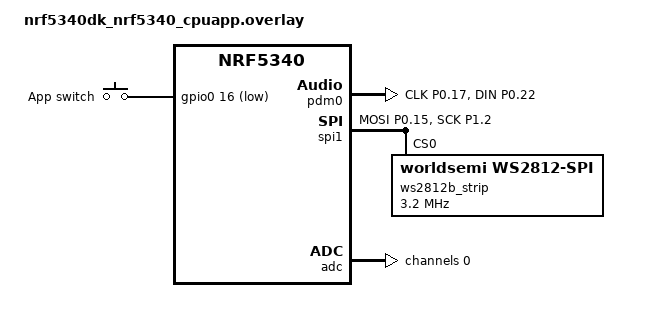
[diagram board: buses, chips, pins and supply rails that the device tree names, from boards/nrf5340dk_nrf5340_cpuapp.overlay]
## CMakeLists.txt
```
# SPDX-License-Identifier: Apache-2.0

cmake_minimum_required(VERSION 3.20.0)
find_package(Zephyr REQUIRED HINTS $ENV{ZEPHYR_BASE})
project(bap_unicast_client_4)

target_sources(app PRIVATE
  src/main_3.c
  src/app_state.c
  src/stream_pdm.c
)

zephyr_sources_ifdef(CONFIG_LIBLC3 src/stream_lc3.c)
zephyr_sources_ifdef(CONFIG_BT_AUDIO_TX src/stream_tx.c)

zephyr_library_include_directories(app PRIVATE src)
```

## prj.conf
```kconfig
CONFIG_BT=y
CONFIG_LOG=y
CONFIG_USE_SEGGER_RTT=y
CONFIG_RTT_CONSOLE=y
CONFIG_UART_CONSOLE=n
CONFIG_LOG_BACKEND_SHOW_COLOR=n
CONFIG_BT_SMP=y
CONFIG_BT_CENTRAL=y
CONFIG_BT_ISO_CENTRAL=y
CONFIG_BT_GATT_CLIENT=y
CONFIG_BT_GATT_AUTO_DISCOVER_CCC=y
CONFIG_BT_GATT_AUTO_UPDATE_MTU=y
CONFIG_UTF8=y
CONFIG_BT_AUDIO=y
CONFIG_BT_BAP_UNICAST_CLIENT=y
CONFIG_BT_ISO_TX_BUF_COUNT=4
CONFIG_BT_ISO_MAX_CHAN=4
CONFIG_BT_BAP_UNICAST_CLIENT_GROUP_STREAM_COUNT=4
CONFIG_BT_BAP_UNICAST_CLIENT_ASE_SNK_COUNT=4
CONFIG_BT_BAP_UNICAST_CLIENT_ASE_SRC_COUNT=2
CONFIG_BT_KEYS_OVERWRITE_OLDEST=y
CONFIG_BT_EXT_ADV=y

CONFIG_BT_BUF_ACL_TX_SIZE=128
CONFIG_BT_BUF_ACL_RX_SIZE=128

CONFIG_GPIO=y

CONFIG_AUDIO=y
CONFIG_AUDIO_DMIC=y
CONFIG_NRFX_PDM=y

CONFIG_CLOCK_CONTROL_NRF_K32SRC_XTAL=y
CONFIG_CLOCK_CONTROL_NRF_K32SRC_20PPM=y


CONFIG_LED_STRIP=y
CONFIG_LED_STRIP_LOG_LEVEL_DBG=y
CONFIG_SPI=y
CONFIG_WS2812_STRIP_SPI=y

CONFIG_RING_BUFFER=y
 

CONFIG_SPEED_OPTIMIZATIONS=y
 
```

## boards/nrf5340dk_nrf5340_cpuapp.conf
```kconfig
# For LC3 the following configs are needed
CONFIG_FPU=y
CONFIG_LIBLC3=y
# The LC3 codec uses a large amount of stack. This app runs the codec in the work-queue, hence
# inctease stack size for that thread.
CONFIG_SYSTEM_WORKQUEUE_STACK_SIZE=8192

CONFIG_BT_BUF_EVT_RX_SIZE=255
CONFIG_BT_BUF_ACL_RX_SIZE=128
CONFIG_BT_BUF_ACL_TX_SIZE=128
CONFIG_BT_BUF_CMD_TX_SIZE=255
```

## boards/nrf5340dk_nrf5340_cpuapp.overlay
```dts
/ {
    aliases {
        mic-pdm    = &pdm0;
        led-strip  = &ws2812b_strip;
        analog0    = &adc_chan0;
        switch0    = &app_switch;  
    };

   
    app_switch: gpio_keys {
        compatible = "gpio-keys";
        button_0: button_0 {
            gpios = <&gpio0 16 (GPIO_PULL_UP | GPIO_ACTIVE_LOW)>;
            label = "App switch";
        };
    }; 
};

&clock {
    hfclkaudio-frequency = <12288000>;
};



&pdm0 {
    status = "okay";
    pinctrl-0 = <&pdm0_default>;
    pinctrl-names = "default";
    clock-source = "ACLK";
};


&spi1 {
    status = "okay";
    pinctrl-0 = <&spi1_default>;
    pinctrl-names = "default";

    ws2812b_strip: ws2812b@0 {
        compatible = "worldsemi,ws2812-spi";
        reg = <0>;
        spi-max-frequency = <3200000>; 
        chain-length = <5>;
        color-mapping = <1 0 2>;
        spi-one-frame  = <0x70>;   
        spi-zero-frame = <0x40>;   
        reset-delay    = <2000>;
    };
};


&adc {
    status = "okay";
    #address-cells = <1>;
    #size-cells = <0>;

    adc_chan0: channel@0 {
        reg = <0>;
        zephyr,gain             = "ADC_GAIN_1_6";
        zephyr,reference        = "ADC_REF_INTERNAL";
        zephyr,acquisition-time = <ADC_ACQ_TIME_DEFAULT>;
        zephyr,input-positive   = <2>;   /* AIN2 = P0.04 */
        zephyr,resolution       = <12>;
    };
};

/* ── Pin control ───────────────────────────────────────────────────────── */
&pinctrl {
    pdm0_default: pdm0_default {
        group1 {
            psels = <NRF_PSEL(PDM_CLK, 0, 17)>,
                    <NRF_PSEL(PDM_DIN, 0, 22)>;
        };
    };

    spi1_default: spi1_default {
        group1 {
            psels = <NRF_PSEL(SPIM_MOSI, 0, 15)>,
                    <NRF_PSEL(SPIM_SCK,  1,  2)>;
        };
    };
};
```

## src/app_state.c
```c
 
#include "app_state.h"
 
#include <stdbool.h>
#include <stdint.h>
#include <string.h>
 
#include <zephyr/device.h>
#include <zephyr/devicetree.h>
#include <zephyr/drivers/gpio.h>
#include <zephyr/drivers/led_strip.h>
#include <zephyr/kernel.h>
#include <zephyr/logging/log.h>
 
LOG_MODULE_REGISTER(app_state, LOG_LEVEL_INF);
 
 
#define LONG_PRESS_MS       2000U  
#define BLINK_PERIOD_MS      250U   
#define DISPLAY_MS          2000U   
 
/* Switch: P0.16, active low (GND when pressed, pull-up to VCC) */
static const struct gpio_dt_spec sw = GPIO_DT_SPEC_GET(DT_NODELABEL(button_0), gpios);
 
/* WS2812B strip on P0.15 via "led-strip" alias in app.overlay */
static const struct device *led_strip_dev = DEVICE_DT_GET_OR_NULL(DT_ALIAS(led_strip));
 
#define STRIP_NUM_LEDS      5U   
 
static struct led_rgb strip_buf[STRIP_NUM_LEDS];
 
typedef enum {
    STATE_LOW_POWER,
    STATE_SCANNING,
    STATE_STREAMING,
} app_state_t;
 
static volatile app_state_t current_state = STATE_LOW_POWER;
static volatile bool         disconnect_requested;
 
static K_SEM_DEFINE(sem_long_press, 0, 1);
 
static volatile int64_t press_start_ms;
static volatile bool    press_active;
 

static struct gpio_callback sw_cb_data;
 

static struct k_timer blink_timer;
static volatile bool  blink_on;
static volatile bool  blink_running;
 

static const struct led_rgb COLOR_OFF   = {.r = 0,   .g = 0,   .b = 0};
static const struct led_rgb COLOR_BLUE  = {.r = 0,   .g = 0,   .b = 128};
static const struct led_rgb COLOR_GREEN = {.r = 0,   .g = 128, .b = 0};
static const struct led_rgb COLOR_RED   = {.r = 128, .g = 0,   .b = 0};
 

static void led_set(const struct led_rgb *color)
{
    for (size_t i = 0; i < STRIP_NUM_LEDS; i++) {
        strip_buf[i] = *color;
    }
    led_strip_update_rgb(led_strip_dev, strip_buf, STRIP_NUM_LEDS);
}
 
static void led_off(void)
{
    led_set(&COLOR_OFF);
}
 

static void blink_timer_cb(struct k_timer *t)
{
    ARG_UNUSED(t);
 
    if (!blink_running) {
        return;
    }
 
    blink_on = !blink_on;
    led_set(blink_on ? &COLOR_BLUE : &COLOR_OFF);
}
 
static void blink_start(void)
{
    blink_on      = true;
    blink_running = true;
    led_set(&COLOR_BLUE);
    k_timer_start(&blink_timer,
                  K_MSEC(BLINK_PERIOD_MS),
                  K_MSEC(BLINK_PERIOD_MS));
}
 
static void blink_stop(void)
{
    blink_running = false;
    k_timer_stop(&blink_timer);
    led_off();
}
 

static void sw_isr(const struct device *dev, struct gpio_callback *cb,
                   uint32_t pins)
{
    ARG_UNUSED(dev);
    ARG_UNUSED(cb);
    ARG_UNUSED(pins);
 
   
    int raw = gpio_pin_get_raw(sw.port, sw.pin);
 
    if (raw == 0) {
        press_start_ms = k_uptime_get();
        press_active   = true;
    } else {
        if (!press_active) {
            return;
        }
        press_active = false;
 
        int64_t held_ms = k_uptime_get() - press_start_ms;
 
        if (held_ms >= LONG_PRESS_MS) {
            if (current_state == STATE_LOW_POWER) {
                k_sem_give(&sem_long_press);
            } else if (current_state == STATE_STREAMING) {
                disconnect_requested = true;
                LOG_INF("Long press while streaming — requesting disconnect");
            }
            
        }
    }
}
 
/*PUBLIC FUNCTIONS*/
int app_state_init(void)
{
    int err;

    led_strip_dev = DEVICE_DT_GET(DT_ALIAS(led_strip));
    if (!device_is_ready(led_strip_dev)) {
        LOG_ERR("LED strip device not ready");
        return -ENODEV;
    }
    led_off();
 
    if (!gpio_is_ready_dt(&sw)) {
        LOG_ERR("Switch GPIO not ready");
        return -ENODEV;
    }
 
    err = gpio_pin_configure_dt(&sw, GPIO_INPUT | GPIO_PULL_UP);
    if (err != 0) {
        LOG_ERR("Failed to configure switch pin: %d", err);
        return err;
    }
 
    err = gpio_pin_interrupt_configure_dt(&sw, GPIO_INT_EDGE_BOTH);
    if (err != 0) {
        LOG_ERR("Failed to configure switch interrupt: %d", err);
        return err;
    }
 
    gpio_init_callback(&sw_cb_data, sw_isr, BIT(sw.pin));
    gpio_add_callback(sw.port, &sw_cb_data);

    k_timer_init(&blink_timer, blink_timer_cb, NULL);
 
    current_state        = STATE_LOW_POWER;
    disconnect_requested = false;
 
    LOG_INF("App state machine initialised (switch P0.16, LED P0.15)");
    return 0;
}
 
void app_state_wait_for_start(void)
{

    k_sem_reset(&sem_long_press);
    disconnect_requested = false;
    current_state        = STATE_LOW_POWER;
 
    led_off();
 
    LOG_INF("Entering low-power — waiting for 2-second press");

    k_sem_take(&sem_long_press, K_FOREVER);
 
    current_state = STATE_SCANNING;
    blink_start();
 
    LOG_INF("Long press detected — starting BT scan, blue blink running");
}
 
void app_state_notify_connected(void)
{
    blink_stop();
    current_state = STATE_STREAMING;
 
    led_set(&COLOR_GREEN);
    k_sleep(K_MSEC(DISPLAY_MS));
    led_off();
 
    LOG_INF("Connected — green display done, LED off, streaming");
}
 
void app_state_notify_scan_timeout(void)
{
    blink_stop();
    current_state = STATE_LOW_POWER;
 
    led_set(&COLOR_RED);
    k_sleep(K_MSEC(DISPLAY_MS));
    led_off();
 
    LOG_INF("Scan timeout — red display done, returning to low power");
}
 
bool app_state_disconnect_requested(void)
{
    return disconnect_requested;
}
```

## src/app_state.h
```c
#ifndef APP_STATE_H_
#define APP_STATE_H_
 
#include <stdbool.h>
 

int app_state_init(void);
 

void app_state_wait_for_start(void);

void app_state_notify_connected(void);
 

void app_state_notify_scan_timeout(void);
 

bool app_state_disconnect_requested(void);
 
#endif 
```

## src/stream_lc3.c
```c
#include <errno.h>
#include <stdbool.h>
#include <stdint.h>
#include <string.h>
 
#include <zephyr/bluetooth/audio/audio.h>
#include <zephyr/kernel.h>
#include <zephyr/logging/log.h>
#include <zephyr/net_buf.h>
#include <lc3.h>
 
#include "stream_lc3.h"
#include "stream_mic.h"
#include "stream_tx.h"
 
LOG_MODULE_REGISTER(lc3, LOG_LEVEL_INF);
 
#define LC3_MAX_SAMPLE_RATE       48000U
#define LC3_MAX_FRAME_DURATION_US 10000U
#define LC3_MAX_NUM_SAMPLES \
    ((LC3_MAX_FRAME_DURATION_US * LC3_MAX_SAMPLE_RATE) / USEC_PER_SEC)


static uint32_t frame_count = 0;

#define RESET_INTERVAL_FRAMES 10000
 

static int16_t audio_buf[LC3_MAX_NUM_SAMPLES * 2U];
 

static void fill_audio_buf_i2s(struct tx_stream *stream)
{
    const unsigned int num_samples =
        (stream->lc3_tx.frame_duration_us * stream->lc3_tx.freq_hz) / USEC_PER_SEC;
    const uint8_t chan_cnt = stream->lc3_tx.chan_cnt;
 
    if (chan_cnt >= 2U) {

        int err = stream_i2s_read(audio_buf, num_samples * 2U);
 
        if (err != 0) {
            
            LOG_ERR("stream_i2s_read failed: %d — using silence", err);
            memset(audio_buf, 0, num_samples * 2U * sizeof(int16_t));
        }
    } else {
        
        int16_t stereo_buf[LC3_MAX_NUM_SAMPLES * 2U];
        int err = stream_i2s_read(stereo_buf, num_samples * 2U);
 
        if (err == 0) {
            for (unsigned int i = 0; i < num_samples; i++) {
                int32_t mixed = (int32_t)stereo_buf[i * 2U] +
                                (int32_t)stereo_buf[i * 2U + 1U];
                audio_buf[i] = (int16_t)(mixed >> 1);
            }
        } else {
            LOG_ERR("stream_i2s_read failed: %d — using silence", err);
            memset(audio_buf, 0, num_samples * sizeof(int16_t));
        }
    }
}
 
static int extract_lc3_config(struct tx_stream *stream)
{
    const struct bt_audio_codec_cfg *codec_cfg = stream->bap_stream->codec_cfg;
    struct stream_lc3_tx *lc3_tx = &stream->lc3_tx;
    int ret;
 
    LOG_INF("Extracting LC3 configuration values");
 
    ret = bt_audio_codec_cfg_get_freq(codec_cfg);
    if (ret >= 0) {
        ret = bt_audio_codec_cfg_freq_to_freq_hz(ret);
        if (ret > 0 && LC3_CHECK_SR_HZ(ret)) {
            lc3_tx->freq_hz = (uint32_t)ret;
        } else {
            LOG_ERR("Invalid frequency: %d", ret);
            return -EINVAL;
        }
    } else {
        LOG_ERR("Could not get frequency: %d", ret);
        return ret;
    }
 
    ret = bt_audio_codec_cfg_get_frame_dur(codec_cfg);
    if (ret >= 0) {
        ret = bt_audio_codec_cfg_frame_dur_to_frame_dur_us(ret);
        if (ret > 0 && LC3_CHECK_DT_US(ret)) {
            lc3_tx->frame_duration_us = (uint32_t)ret;
        } else {
            LOG_ERR("Invalid frame duration: %d", ret);
            return -EINVAL;
        }
    } else {
        LOG_ERR("Could not get frame duration: %d", ret);
        return ret;
    }
 
    ret = bt_audio_codec_cfg_get_chan_allocation(codec_cfg,
                                                  &lc3_tx->chan_allocation,
                                                  false);
    if (ret != 0) {
        lc3_tx->chan_allocation = BT_AUDIO_LOCATION_MONO_AUDIO;
    }
    lc3_tx->chan_cnt = bt_audio_get_chan_count(lc3_tx->chan_allocation);
 
    ret = bt_audio_codec_cfg_get_frame_blocks_per_sdu(codec_cfg, true);
    if (ret >= 0) {
        lc3_tx->frame_blocks_per_sdu = (uint8_t)ret;
    }
 
    ret = bt_audio_codec_cfg_get_octets_per_frame(codec_cfg);
    if (ret >= 0) {
        lc3_tx->octets_per_frame = (uint16_t)ret;
    } else {
        LOG_ERR("Could not get octets per frame: %d", ret);
        return ret;
    }
 
    return 0;
}
 
static bool encode_frame(struct tx_stream *stream, uint8_t index,
                          struct net_buf *out_buf)
{
    const uint16_t octets_per_frame = stream->lc3_tx.octets_per_frame;
    const uint8_t  chan_cnt         = stream->lc3_tx.chan_cnt;
    const int      stride           = (chan_cnt >= 2U) ? 2 : 1;
 
    int lc3_ret = lc3_encode(stream->lc3_tx.encoder,
                              LC3_PCM_FORMAT_S16,
                              audio_buf + index,
                              stride,
                              octets_per_frame,
                              net_buf_tail(out_buf));
    if (lc3_ret < 0) {
        LOG_ERR("LC3 encoder failed: %d", lc3_ret);
        return false;
    }
 
    net_buf_add(out_buf, octets_per_frame);
    return true;
}
 
static bool encode_frame_block(struct tx_stream *stream, struct net_buf *out_buf)
{
    fill_audio_buf_i2s(stream);
 
    for (uint8_t i = 0U; i < stream->lc3_tx.chan_cnt; i++) {
        if (!encode_frame(stream, i, out_buf)) {
            LOG_WRN("Failed to encode frame %u", i);
            return false;
        }
    }
 
    return true;
}
 
void stream_lc3_add_data(struct tx_stream *stream, struct net_buf *buf)
{
    for (uint8_t i = 0U; i < stream->lc3_tx.frame_blocks_per_sdu; i++) {
        if (!encode_frame_block(stream, buf)) {
            LOG_WRN("Failed to encode frame block %u", i);
            break;
        }
    }
}
 
int stream_lc3_init(struct tx_stream *stream)
{
    int err = extract_lc3_config(stream);
    if (err != 0) {
        memset(&stream->lc3_tx, 0, sizeof(stream->lc3_tx));
        return err;
    }
 
    err = stream_i2s_start(stream->lc3_tx.freq_hz);
    if (err != 0) {
        LOG_ERR("stream_i2s_start failed: %d", err);
        memset(&stream->lc3_tx, 0, sizeof(stream->lc3_tx));
        return err;
    }
 
    LOG_INF("Setting up LC3 encoder");
    stream->lc3_tx.encoder =
        lc3_setup_encoder(stream->lc3_tx.frame_duration_us,
                          stream->lc3_tx.freq_hz,
                          0,
                          &stream->lc3_tx.encoder_mem);
 
    if (stream->lc3_tx.encoder == NULL) {
        LOG_ERR("Failed to setup LC3 encoder");
        return -ENOEXEC;
    }
 
    return 0;
}
 
```

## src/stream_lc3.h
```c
#ifndef STREAM_LC3_H
#define STREAM_LC3_H

#include <stdint.h>

#include <zephyr/bluetooth/audio/audio.h>
#include <zephyr/net_buf.h>
#include <zephyr/sys_clock.h>

#if defined(CONFIG_LIBLC3)

#include <lc3.h>

struct stream_lc3_tx {
	uint32_t freq_hz;
	uint32_t frame_duration_us;
	uint16_t octets_per_frame;
	uint8_t frame_blocks_per_sdu;
	uint8_t chan_cnt;
	enum bt_audio_location chan_allocation;
	lc3_encoder_t encoder;
	lc3_encoder_mem_48k_t encoder_mem;
};
#endif 

struct tx_stream;


int stream_lc3_init(struct tx_stream *stream);


void stream_lc3_add_data(struct tx_stream *stream, struct net_buf *buf);

#endif 
```

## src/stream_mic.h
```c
#ifndef STREAM_I2S_H_ // Reworked from I2S code iteration
#define STREAM_I2S_H_

#include <stdint.h>
#include <stddef.h>



int stream_i2s_init(void);


int stream_i2s_start(uint32_t sample_rate_hz);


int stream_i2s_read(int16_t *buf, size_t num_samples);

uint32_t stream_i2s_buf_occupancy(void);

void reset_pdm_stream(void);

void partial_reset_pdm_stream(void);

void stream_i2s_reset(void);


#endif 
```

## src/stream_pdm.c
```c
// Reworked from I2S code iteration
#include "stream_mic.h"
 
#include <errno.h>
#include <stddef.h>
#include <stdint.h>
#include <string.h>
 
#include <zephyr/device.h>
#include <zephyr/audio/dmic.h>
#include <zephyr/kernel.h>
#include <zephyr/logging/log.h>
#include <zephyr/sys/ring_buffer.h>
#include <zephyr/sys/__assert.h>
 
LOG_MODULE_REGISTER(stream_pdm, LOG_LEVEL_INF);
 

#define PDM_NUM_BLOCKS          3U
 
#define PDM_MAX_BLOCK_BYTES     8192U
 
#define RING_BUF_BYTES          2048U

#define WATERMARK_BLOCKS        4U

#define BUFFER_SIZE_BYTES 2048 
#define WATERMARK_HIGH    (RING_BUF_BYTES * 9 / 10) 
#define WATERMARK_LOW     (RING_BUF_BYTES * 1 / 10) 
 
#define CAPTURE_THREAD_STACK_SIZE   2048U
#define CAPTURE_THREAD_PRIORITY     K_PRIO_PREEMPT(2)
 

static struct k_mem_slab pdm_mem_slab;
static uint8_t __aligned(4) pdm_slab_buf[PDM_NUM_BLOCKS * PDM_MAX_BLOCK_BYTES];
 
static uint8_t  ring_buf_data[RING_BUF_BYTES];
static struct   ring_buf rb;
 

static volatile uint32_t configured_block_bytes;
 
static K_SEM_DEFINE(sem_data_ready, 0, K_SEM_MAX_LIMIT);
static K_SEM_DEFINE(sem_bt_ready,   0, 1);
 
static bool           thread_created;
static K_MUTEX_DEFINE(init_mutex);
static const struct   device *pdm_dev_ptr;
 
static K_THREAD_STACK_DEFINE(capture_thread_stack, CAPTURE_THREAD_STACK_SIZE);
static struct k_thread capture_thread_data;
 

static void push_block_to_ring(const int16_t *samples, size_t sample_count)
{
    const uint32_t bytes_to_write  = sample_count * sizeof(int16_t);
    const uint32_t watermark_bytes = WATERMARK_BLOCKS * configured_block_bytes;
 
    if (ring_buf_size_get(&rb) + bytes_to_write > watermark_bytes &&
        configured_block_bytes > 0U) {
 
        uint8_t *claim_buf;
        uint32_t claimed = ring_buf_get_claim(&rb, &claim_buf,
                                              configured_block_bytes);
        if (claimed > 0U) {
            ring_buf_get_finish(&rb, claimed);
            LOG_DBG("Clock drift: evicted %u B from ring buffer", claimed);
        }
    }
 
    const uint32_t written = ring_buf_put(&rb, (const uint8_t *)samples,
                                          bytes_to_write);
 
    if (written < bytes_to_write) {
        LOG_WRN("Ring buffer full after eviction: dropped %u B",
                bytes_to_write - written);
    }

    if (ring_buf_size_get(&rb) >= 1280) {
        k_sem_give(&sem_data_ready);
    }
}

static int16_t apply_gain(int16_t sample, float gain) {

    float boosted = (float)sample * gain;
    
    if (boosted > 32767.0f) return 32767;
    if (boosted < -32768.0f) return -32768;
    
    return (int16_t)boosted;
}
 
static void capture_thread_func(void *arg1, void *arg2, void *arg3)
{
    ARG_UNUSED(arg1);
    ARG_UNUSED(arg2);
    ARG_UNUSED(arg3);
 
    int err;
 
    LOG_INF("PDM capture thread waiting for BT");
    k_sem_take(&sem_bt_ready, K_FOREVER);
    LOG_INF("PDM capture thread starting DMA");
 
    const struct device *dev = pdm_dev_ptr;
    
    err = dmic_trigger(dev, DMIC_TRIGGER_START);
    if (err != 0) {
        LOG_ERR("DMIC_TRIGGER_START failed: %d", err);
        return;
    }
    static uint8_t dummy[2];
    while (true) {
        void  *rx_buf  = NULL;
        size_t rx_size = 0;

        static uint32_t last_log_time = 0;
        uint32_t now = k_uptime_get_32();

        // Log every 5 seconds, not every loop iteration (to avoid flooding RTT)
        if (now - last_log_time > 5000) {
            LOG_INF("Buffer Occupancy: %u bytes", ring_buf_size_get(&rb));
            last_log_time = now;
        }
 
        err = dmic_read(dev, 0, &rx_buf, &rx_size, 500);
 
        if (err == -EAGAIN || err == -ETIMEDOUT) {
            LOG_ERR("PDM stall detected — resetting");
            dmic_trigger(dev, DMIC_TRIGGER_STOP);
            k_sleep(K_MSEC(10));
            dmic_trigger(dev, DMIC_TRIGGER_START);
            continue;
        }
 
        if (err != 0) {
            LOG_ERR("dmic_read error: %d", err);
            continue;
        }
 
        if (rx_buf == NULL || rx_size == 0) {
            LOG_WRN("Empty PDM block");
            continue;
        }

        int16_t *samples = (int16_t *)rx_buf;
        size_t num_samples = rx_size / sizeof(int16_t);

        for (size_t i = 0; i < num_samples; i++) {
            samples[i] = apply_gain(samples[i], 4.f); // 1.5x gain
        }
 
        push_block_to_ring((const int16_t *)rx_buf, rx_size / sizeof(int16_t));
        k_mem_slab_free(&pdm_mem_slab, rx_buf);

        // TO REMOVE
        uint32_t occupancy = ring_buf_size_get(&rb);
        static uint32_t drop_count = 0;
        if (occupancy > 2000) {
            uint8_t dummy[2];
            ring_buf_get(&rb, dummy, 2);
        }
        if (occupancy > WATERMARK_HIGH) {
            drop_count++;
            LOG_WRN("Governor Drop #%u", drop_count);
            reset_pdm_stream();
        }
        else if (occupancy < WATERMARK_LOW) {
            k_sleep(K_MSEC(5)); // Give BT stack room to breathe
        }
    }
}
 

int stream_i2s_init(void)
{
    k_mutex_lock(&init_mutex, K_FOREVER);
 
    if (thread_created) {
        k_mutex_unlock(&init_mutex);
        return 0;
    }
 
    pdm_dev_ptr = DEVICE_DT_GET(DT_ALIAS(mic_pdm));
    if (!device_is_ready(pdm_dev_ptr)) {
        LOG_ERR("PDM device not ready");
        k_mutex_unlock(&init_mutex);
        return -ENODEV;
    }
 
    memset(&pdm_mem_slab, 0, sizeof(pdm_mem_slab));
    ring_buf_init(&rb, RING_BUF_BYTES, ring_buf_data);
 
    k_thread_create(&capture_thread_data,
                    capture_thread_stack,
                    K_THREAD_STACK_SIZEOF(capture_thread_stack),
                    capture_thread_func,
                    NULL, NULL, NULL,
                    CAPTURE_THREAD_PRIORITY,
                    0, K_NO_WAIT);
    k_thread_name_set(&capture_thread_data, "pdm_capture");
 
    thread_created = true;
    k_mutex_unlock(&init_mutex);
 
    LOG_INF("PDM phase-1 init done");
    return 0;
}
 
int stream_i2s_start(uint32_t sample_rate_hz)
{
    static bool is_configured;
 
    if (is_configured) {
        return 0;
    }
 
    uint32_t samples_per_channel = sample_rate_hz / 100U;
    uint32_t block_bytes = samples_per_channel * 2U * sizeof(int16_t);
 
    if (block_bytes > PDM_MAX_BLOCK_BYTES) {
        LOG_ERR("Block size %u B exceeds maximum %u B",
                block_bytes, PDM_MAX_BLOCK_BYTES);
        return -EINVAL;
    }
 
    int err = k_mem_slab_init(&pdm_mem_slab, pdm_slab_buf,
                              block_bytes, PDM_NUM_BLOCKS);
    if (err != 0) {
        LOG_ERR("k_mem_slab_init failed: %d", err);
        return err;
    }
 
    configured_block_bytes = block_bytes;
 
    struct pcm_stream_cfg mic_stream_cfg = {
        .pcm_rate   = sample_rate_hz,
        .pcm_width  = 16U,
        .block_size = block_bytes,
        .mem_slab   = &pdm_mem_slab,
    };
 
    struct dmic_cfg cfg = {
        .io = {
            .min_pdm_clk_freq = 1000000U,   
            .max_pdm_clk_freq = 3500000U,
            .min_pdm_clk_dc   = 40U,
            .max_pdm_clk_dc   = 60U,
        },
        .streams = &mic_stream_cfg,
        .channel = {
            .req_num_streams = 1U,
            .req_num_chan    = 2U,
            .req_chan_map_lo =
                dmic_build_channel_map(0, 0, PDM_CHAN_LEFT) |
                dmic_build_channel_map(1, 0, PDM_CHAN_RIGHT),
        },
    };
 
    err = dmic_configure(pdm_dev_ptr, &cfg);
    if (err != 0) {
        LOG_ERR("dmic_configure failed: %d", err);
        return err;
    }
 
    LOG_INF("PDM configured: %u B / 10 ms at %u Hz", block_bytes, sample_rate_hz);
 
    is_configured = true;
    k_sem_give(&sem_bt_ready);
    return 0;
}
 
int stream_i2s_read(int16_t *buf, size_t num_samples)
{
    uint32_t bytes_needed = num_samples * sizeof(int16_t);
    uint32_t bytes_read   = 0U;
 
    while (bytes_read < bytes_needed) {
        uint32_t got = ring_buf_get(&rb,
                                    (uint8_t *)buf + bytes_read,
                                    bytes_needed - bytes_read);
        bytes_read += got;
 
        if (bytes_read < bytes_needed) {
            k_sem_take(&sem_data_ready, K_FOREVER);
        }
    }
 
    return 0;
}
 
uint32_t stream_i2s_buf_occupancy(void)
{
    return ring_buf_size_get(&rb);
}

void reset_pdm_stream(void)
{

    dmic_trigger(pdm_dev_ptr, DMIC_TRIGGER_STOP);
    
    ring_buf_reset(&rb);

    dmic_trigger(pdm_dev_ptr, DMIC_TRIGGER_START);
}

void partial_reset_pdm_stream(void)
{

    ring_buf_reset(&rb);

    uint8_t silence[1920] = {0};
    ring_buf_put(&rb, silence, 1920);
}

// Cleaner version of reset_pdm_stream()
void stream_i2s_reset(void)
{
    
    if (pdm_dev_ptr != NULL && device_is_ready(pdm_dev_ptr)) {
        dmic_trigger(pdm_dev_ptr, DMIC_TRIGGER_STOP);
    }
    
    ring_buf_reset(&rb);
    
    
    k_sem_reset(&sem_data_ready);
    k_sem_reset(&sem_bt_ready);
    
    
    if (configured_block_bytes > 0U) {
        k_mem_slab_init(&pdm_mem_slab, pdm_slab_buf, 
                        configured_block_bytes, PDM_NUM_BLOCKS);
    }

}
```

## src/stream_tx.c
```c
#include <zephyr/bluetooth/audio/bap.h>
#include <zephyr/bluetooth/iso.h>
#include <zephyr/kernel.h>
#include <zephyr/logging/log.h>
#include <zephyr/net_buf.h>

#include "stream_lc3.h"
#include "stream_mic.h"
#include "stream_tx.h"

LOG_MODULE_REGISTER(stream_tx, LOG_LEVEL_INF);

static struct tx_stream tx_streams[CONFIG_BT_BAP_UNICAST_CLIENT_ASE_SRC_COUNT];

static bool stream_is_streaming(const struct bt_bap_stream *bap_stream)
{
    struct bt_bap_ep_info ep_info;
    if (bap_stream == NULL || bap_stream->ep == NULL) return false;
    if (bt_bap_ep_get_info(bap_stream->ep, &ep_info) != 0) return false;
    return ep_info.state == BT_BAP_EP_STATE_STREAMING;
}

static void tx_thread_func(void *arg1, void *arg2, void *arg3)
{
    NET_BUF_POOL_FIXED_DEFINE(tx_pool, CONFIG_BT_ISO_TX_BUF_COUNT,
                              BT_ISO_SDU_BUF_SIZE(CONFIG_BT_ISO_TX_MTU),
                              CONFIG_BT_CONN_TX_USER_DATA_SIZE, NULL);
    static uint8_t mock_data[CONFIG_BT_ISO_TX_MTU];

    while (true) {
        int err = -ENOEXEC;
        for (size_t i = 0U; i < ARRAY_SIZE(tx_streams); i++) {
            struct bt_bap_stream *bap_stream = tx_streams[i].bap_stream;
            if (stream_is_streaming(bap_stream)) {
                struct net_buf *buf = net_buf_alloc(&tx_pool, K_FOREVER);
                net_buf_reserve(buf, BT_ISO_CHAN_SEND_RESERVE);

                if (IS_ENABLED(CONFIG_LIBLC3) && bap_stream->codec_cfg->id == BT_HCI_CODING_FORMAT_LC3) {
                    stream_lc3_add_data(&tx_streams[i], buf);
                } else {
                    net_buf_add_mem(buf, mock_data, bap_stream->qos->sdu);
                }

                err = bt_bap_stream_send(bap_stream, buf, tx_streams[i].seq_num++);
                if (err != 0) net_buf_unref(buf);
            }
        }
        if (err != 0) k_sleep(K_MSEC(10));
    }
}

int stream_tx_register(struct bt_bap_stream *bap_stream)
{
    if (bap_stream == NULL) return -EINVAL;
    for (size_t i = 0U; i < ARRAY_SIZE(tx_streams); i++) {
        if (tx_streams[i].bap_stream == NULL) {
            tx_streams[i].bap_stream = bap_stream;
            if (IS_ENABLED(CONFIG_LIBLC3) && bap_stream->codec_cfg->id == BT_HCI_CODING_FORMAT_LC3) {
                if (stream_lc3_init(&tx_streams[i]) != 0) {
                    tx_streams[i].bap_stream = NULL;
                    return -ENOMEM;
                }
            }
            return 0;
        }
    }
    return -ENOMEM;
}

int stream_tx_unregister(struct bt_bap_stream *bap_stream)
{
    for (size_t i = 0U; i < ARRAY_SIZE(tx_streams); i++) {
        if (tx_streams[i].bap_stream == bap_stream) {
            tx_streams[i].bap_stream = NULL;
            return 0;
        }
    }
    return -ENODATA;
}

void stream_tx_init(void)
{
    static bool thread_started;
    if (!thread_started) {
        static K_KERNEL_STACK_DEFINE(tx_thread_stack, IS_ENABLED(CONFIG_LIBLC3) ? 4096U : 1024U);
        static struct k_thread tx_thread;
        k_thread_create(&tx_thread, tx_thread_stack, K_KERNEL_STACK_SIZEOF(tx_thread_stack),
                        tx_thread_func, NULL, NULL, NULL, K_PRIO_PREEMPT(5), 0, K_NO_WAIT);
        
        if (IS_ENABLED(CONFIG_LIBLC3)) {
            stream_i2s_init();
        }
        thread_started = true;
    }
}
```

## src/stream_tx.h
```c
#ifndef STREAM_TX_H
#define STREAM_TX_H

#include <stdint.h>

#include <zephyr/bluetooth/conn.h>
#include <zephyr/bluetooth/audio/bap.h>
#include <zephyr/bluetooth/audio/cap.h>
#include <zephyr/types.h>

#include "stream_lc3.h"

struct tx_stream {
	struct bt_bap_stream *bap_stream;
	uint16_t seq_num;

#if defined(CONFIG_LIBLC3)
	struct stream_lc3_tx lc3_tx;
#endif
};

void stream_tx_init(void);

int stream_tx_register(struct bt_bap_stream *bap_stream);

int stream_tx_unregister(struct bt_bap_stream *bap_stream);

#endif 
```
